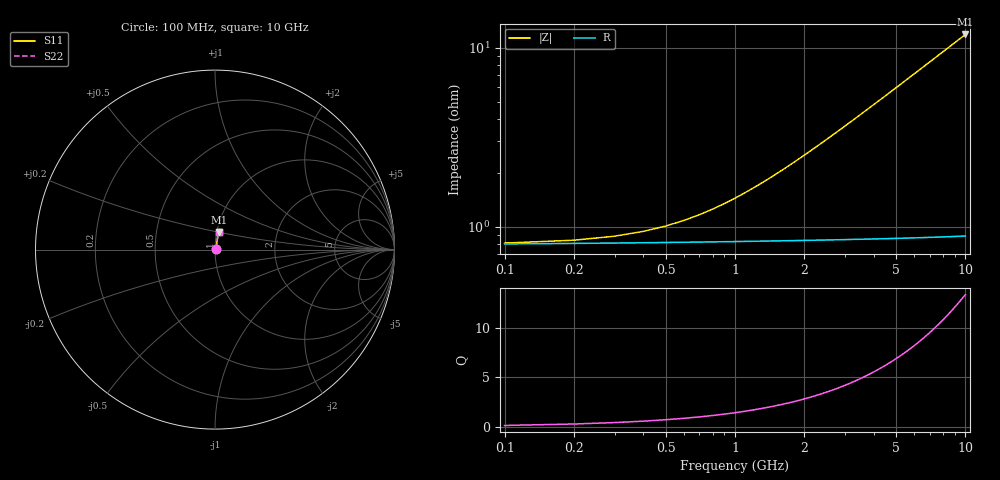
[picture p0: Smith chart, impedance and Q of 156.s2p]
# Hz S RI R 50.00
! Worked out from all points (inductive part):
!   100 points, 100 MHz to 10 GHz, reference 50 ohm
!   read as one part in series: L = 188 pH near 2.2 GHz
!   highest Q = 13.4 at 10 GHz (marker M1), where L = 188 pH
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1e8  0.00794 0.001  0.9921 -0.00133  0.9921 -0.00133  0.00794 0.001
2e8  0.00799 0.002  0.992 -0.00265  0.992 -0.00265  0.00799 0.002
3e8  0.00804 0.003  0.992 -0.00398  0.992 -0.00398  0.00804 0.003
4e8  0.00808 0.00401  0.9919 -0.00531  0.9919 -0.00531  0.00808 0.00401
6e8  0.00815 0.00601  0.9918 -0.00796  0.9918 -0.00796  0.00815 0.00601
1e9  0.00831 0.01  0.9917 -0.0133  0.9917 -0.0133  0.00831 0.01
1.2e9  0.0084 0.012  0.9916 -0.0159  0.9916 -0.0159  0.0084 0.012
1.5e9  0.00855 0.015  0.9914 -0.0199  0.9914 -0.0199  0.00855 0.015
1.8e9  0.00871 0.018  0.9913 -0.0239  0.9913 -0.0239  0.00871 0.018
2.1e9  0.0089 0.021  0.9911 -0.0278  0.9911 -0.0278  0.0089 0.021
2.5e9  0.00918 0.025  0.9908 -0.0331  0.9908 -0.0331  0.00918 0.025
2.9e9  0.0095 0.029  0.9904 -0.0384  0.9904 -0.0384  0.0095 0.029
3.4e9  0.00996 0.034  0.99 -0.045  0.99 -0.045  0.00996 0.034
3.8e9  0.0104 0.0379  0.9895 -0.0503  0.9895 -0.0503  0.0104 0.0379
4.2e9  0.0108 0.0419  0.9891 -0.0556  0.9891 -0.0556  0.0108 0.0419
4.6e9  0.0113 0.0459  0.9886 -0.0608  0.9886 -0.0608  0.0113 0.0459
5.1e9  0.012 0.0508  0.9879 -0.0674  0.9879 -0.0674  0.012 0.0508
5.9e9  0.0132 0.0587  0.9866 -0.0779  0.9866 -0.0779  0.0132 0.0587
6.7e9  0.0146 0.0666  0.9851 -0.0884  0.9851 -0.0884  0.0146 0.0666
7.5e9  0.0161 0.0744  0.9835 -0.0988  0.9835 -0.0988  0.0161 0.0744
8.4e9  0.0181 0.0832  0.9815 -0.1105  0.9815 -0.1105  0.0181 0.0832
1e10  0.022 0.0986  0.9774 -0.1311  0.9774 -0.1311  0.022 0.0986
